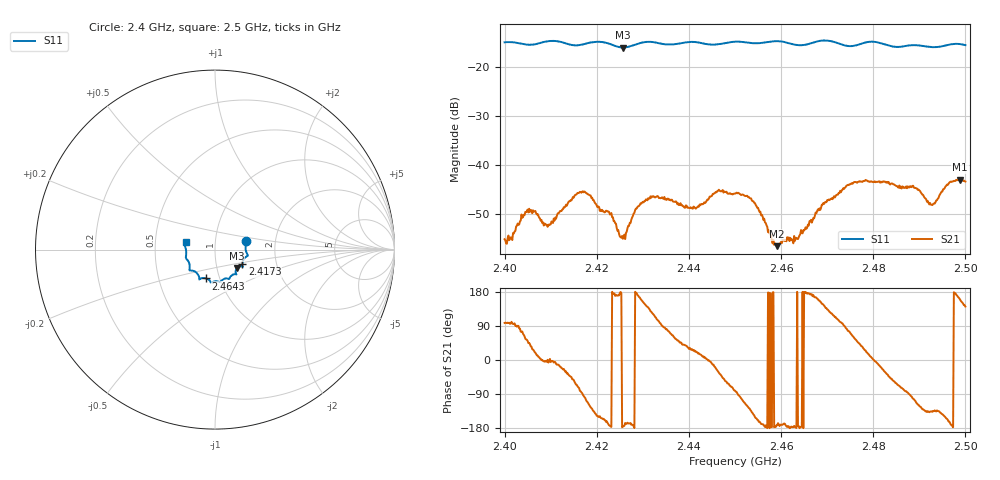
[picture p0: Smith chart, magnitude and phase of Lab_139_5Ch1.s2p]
# Hz S RI R 50
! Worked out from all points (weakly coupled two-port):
!   601 points, 2.4 GHz to 2.5 GHz, reference 50 ohm
!   highest |S21| = -42.93 dB at 2.4988 GHz (marker M1); lowest = -56.5 dB at 2.4592 GHz (marker M2)
!   lowest |S11| = -15.9 dB at 2.4257 GHz (marker M3), VSWR 1.38, Z = 62.4 - j13.1 ohm
!   |S11| at or under -10 dB: start of sweep to end of sweep
!   S12 and S22 are empty: the file has one direction only
!   S11 on the Smith chart (normalised r, x): 2.4 GHz: 1.41, +0.15; 2.4173 GHz: 1.34, -0.23; 2.4643 GHz: 0.86, -0.28; 2.5 GHz: 0.72, +0.06
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2.4e9  0.1733 0.0498  -0.000241 0.00174  0 0  0 0
2.404833e9  0.1702 0.0152  0.00203 0.00273  0 0  0 0
2.4095e9  0.1826 -0.0311  0.00246 -0.000293  0 0  0 0
2.416667e9  0.1532 -0.0746  0.000418 -0.00522  0 0  0 0
2.417333e9  0.1526 -0.0822  -0.000749 -0.00534  0 0  0 0
2.423e9  0.145 -0.0934  -0.00314 -0.000255  0 0  0 0
2.425667e9  0.1222 -0.1025  -0.00177 -0.000155  0 0  0 0
2.429e9  0.1159 -0.1311  -0.00375 0.000684  0 0  0 0
2.433333e9  0.1129 -0.1366  -0.00113 0.00465  0 0  0 0
2.441e9  0.078 -0.1645  0.00344 0.00157  0 0  0 0
2.446167e9  0.0462 -0.1656  0.00484 -0.00253  0 0  0 0
2.45e9  0.0296 -0.1808  0.000812 -0.00508  0 0  0 0
2.453833e9  0.0114 -0.1763  -0.00331 -0.00275  0 0  0 0
2.459167e9  -0.0219 -0.1841  -0.00148 -0.0002  0 0  0 0
2.464333e9  -0.0501 -0.1608  -0.00218 -0.000141  0 0  0 0
2.466667e9  -0.0764 -0.1601  -0.00258 0.000299  0 0  0 0
2.474667e9  -0.1029 -0.129  0.00148 0.0061  0 0  0 0
2.483333e9  -0.1412 -0.0894  0.00493 -0.00461  0 0  0 0
2.489e9  -0.1623 -0.0459  -0.00166 -0.00562  0 0  0 0
2.492667e9  -0.1604 -0.0176  -0.00282 -0.00276  0 0  0 0
2.498833e9  -0.1693 0.0353  -0.0067 0.00246  0 0  0 0
2.5e9  -0.1636 0.042  -0.0053 0.00429  0 0  0 0
